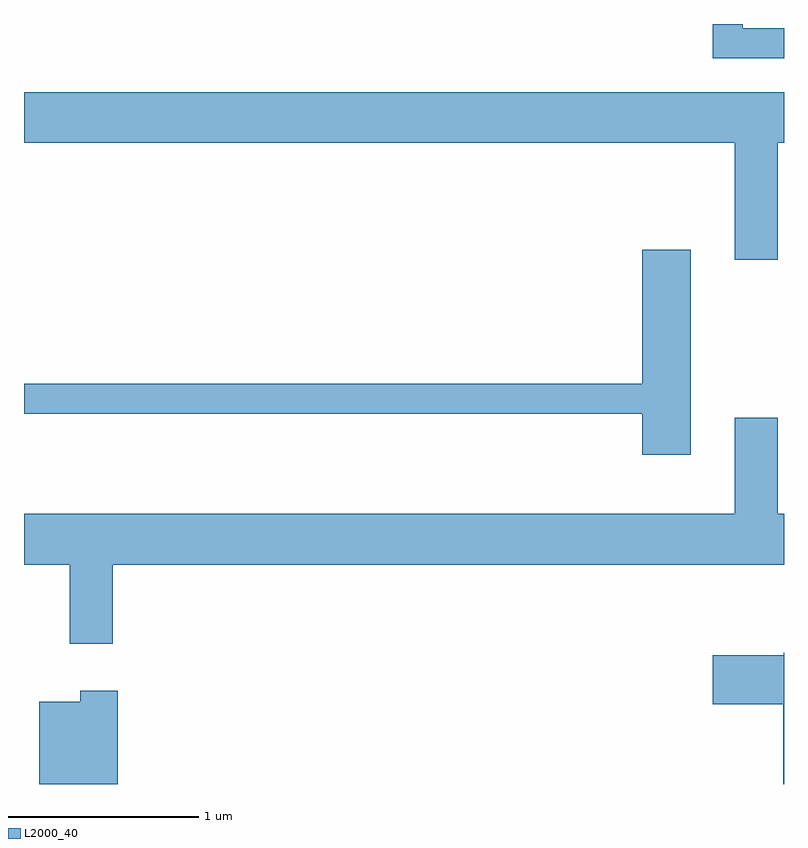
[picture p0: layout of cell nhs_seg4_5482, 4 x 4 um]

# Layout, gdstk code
import gdstk
lib = gdstk.Library(unit=1e-6, precision=1e-09)
def P(c, l, *ps):  # polygons
    for p in ps: c.add(gdstk.Polygon(p, *l))
L2000_40 = (2000, 40)

nhs_seg4_5482 = lib.new_cell('nhs_seg4_5482')
P(nhs_seg4_5482, L2000_40, [(349.611,1341.959),(349.394,1341.959),(349.394,1341.982),(349.236,1341.982),(349.236,1341.801),(349.611,1341.801)],
  [(349.579,1341.356),(349.611,1341.356),(349.611,1341.624),(345.611,1341.624),(345.611,1341.356),(349.351,1341.356),(349.351,1340.741),(349.579,1340.741)],
  [(349.119,1340.794),(348.866,1340.794),(348.866,1340.089),(345.611,1340.089),(345.611,1339.931),(348.866,1339.931),(348.866,1339.716),(349.119,1339.716)],
  [(346.079,1339.136),(349.611,1339.136),(349.611,1339.404),(349.579,1339.404),(349.579,1339.909),(349.351,1339.909),(349.351,1339.404),(345.611,1339.404),(345.611,1339.136),(345.851,1339.136),(345.851,1338.721),(346.079,1338.721)],
  [(349.611,1338.674),(349.61,1338.674),(349.61,1338.659),(349.236,1338.659),(349.236,1338.401),(349.606,1338.401),(349.606,1337.982),(349.611,1337.982)],
  [(346.104,1338.474),(345.906,1338.474),(345.906,1338.414),(345.691,1338.414),(345.691,1337.982),(346.104,1337.982)])

lib.write_gds('nhs_seg4_5482.gds')
